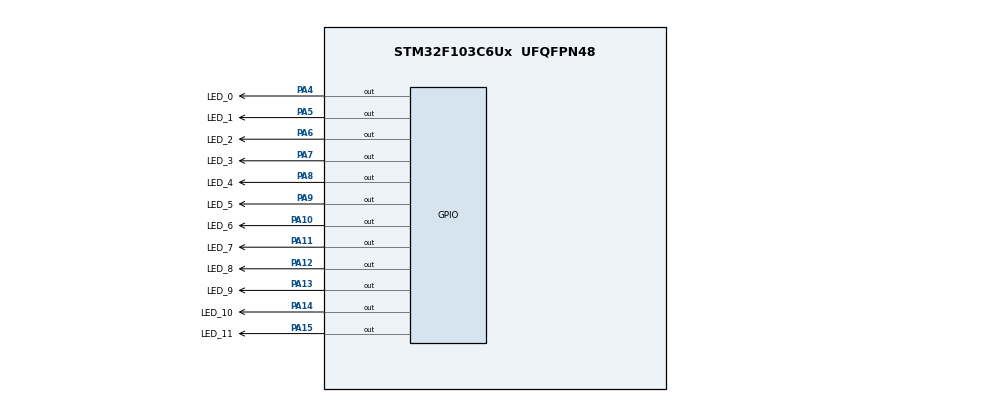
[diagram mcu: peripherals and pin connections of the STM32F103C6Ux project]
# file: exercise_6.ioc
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Mcu.Family=STM32F1
Mcu.Name=STM32F103C6Ux
Mcu.Package=UFQFPN48
NVIC.PriorityGroup=NVIC_PRIORITYGROUP_4
PA10.GPIO_Label=LED_6
PA10.Signal=GPIO_Output
PA11.GPIO_Label=LED_7
PA11.Signal=GPIO_Output
PA12.GPIO_Label=LED_8
PA12.Signal=GPIO_Output
PA13.GPIO_Label=LED_9
PA13.Signal=GPIO_Output
PA14.GPIO_Label=LED_10
PA14.Signal=GPIO_Output
PA15.GPIO_Label=LED_11
PA15.Signal=GPIO_Output
PA4.GPIO_Label=LED_0
PA4.Signal=GPIO_Output
PA5.GPIO_Label=LED_1
PA5.Signal=GPIO_Output
PA6.GPIO_Label=LED_2
PA6.Signal=GPIO_Output
PA7.GPIO_Label=LED_3
PA7.Signal=GPIO_Output
PA8.GPIO_Label=LED_4
PA8.Signal=GPIO_Output
PA9.GPIO_Label=LED_5
PA9.Signal=GPIO_Output
ProjectManager.HeapSize=0x200
ProjectManager.StackSize=0x400
ProjectManager.TargetToolchain=STM32CubeIDE
RCC.APB1Freq_Value=8000000
RCC.APB2Freq_Value=8000000
VP_SYS_VS_ND.Mode=No_Debug
board=custom

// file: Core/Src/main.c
/* USER CODE BEGIN Header */
/**
  ******************************************************************************
  * @file           : main.c
  * @brief          : Main program body
  ******************************************************************************
  * @attention
  *
  * <h2><center>&copy; Copyright (c) 2025 STMicroelectronics.
  * All rights reserved.</center></h2>
  *
  * This software component is licensed by ST under BSD 3-Clause license,
  * the "License"; You may not use this file except in compliance with the
  * License. You may obtain a copy of the License at:
  *                        opensource.org/licenses/BSD-3-Clause
  *
  ******************************************************************************
  */
/* USER CODE END Header */
#include "main.h"

/* USER CODE BEGIN PD */
#define SPEED 100 //Decrease the number for faster clock (1s), set 100 -> 1min = 6s
/* USER CODE END PD */

/* USER CODE BEGIN PV */
int state = 0xFFF;
int counter = 0;
int flag = 1;
/* USER CODE END PV */

void SystemClock_Config(void);
static void MX_GPIO_Init(void);
/* USER CODE BEGIN PFP */
void stateUpdate();

/* USER CODE END PFP */

int main(void)
{

  /* MCU Configuration--------------------------------------------------------*/

  /* Reset of all peripherals, Initializes the Flash interface and the Systick. */
  HAL_Init();

  /* Configure the system clock */
  SystemClock_Config();

  /* Initialize all configured peripherals */
  MX_GPIO_Init();

  /* Infinite loop */
  /* USER CODE BEGIN WHILE */
  while (1)
  {
	  if (counter >= 12){
		  counter = 0;
		  flag ^= 1; //toggle flag
	  }
	  if (flag == 0){
		  state = state | (1 << counter);
	  }else if (flag == 1){
		  state = state & ~(1 << counter);
	  }
	  stateUpdate();
	  counter++;
	  HAL_Delay(SPEED);
    /* USER CODE END WHILE */

  }
}

void SystemClock_Config(void)
{
  RCC_OscInitTypeDef RCC_OscInitStruct = {0};
  RCC_ClkInitTypeDef RCC_ClkInitStruct = {0};

  /** Initializes the RCC Oscillators according to the specified parameters
  * in the RCC_OscInitTypeDef structure.
  */
  RCC_OscInitStruct.OscillatorType = RCC_OSCILLATORTYPE_HSI;
  RCC_OscInitStruct.HSIState = RCC_HSI_ON;
  RCC_OscInitStruct.HSICalibrationValue = RCC_HSICALIBRATION_DEFAULT;
  RCC_OscInitStruct.PLL.PLLState = RCC_PLL_NONE;
  if (HAL_RCC_OscConfig(&RCC_OscInitStruct) != HAL_OK)
  {
    Error_Handler();
  }
  /** Initializes the CPU, AHB and APB buses clocks
  */
  RCC_ClkInitStruct.ClockType = RCC_CLOCKTYPE_HCLK|RCC_CLOCKTYPE_SYSCLK
                              |RCC_CLOCKTYPE_PCLK1|RCC_CLOCKTYPE_PCLK2;
  RCC_ClkInitStruct.SYSCLKSource = RCC_SYSCLKSOURCE_HSI;
  RCC_ClkInitStruct.AHBCLKDivider = RCC_SYSCLK_DIV1;
  RCC_ClkInitStruct.APB1CLKDivider = RCC_HCLK_DIV1;
  RCC_ClkInitStruct.APB2CLKDivider = RCC_HCLK_DIV1;

  if (HAL_RCC_ClockConfig(&RCC_ClkInitStruct, FLASH_LATENCY_0) != HAL_OK)
  {
    Error_Handler();
  }
}

static void MX_GPIO_Init(void)
{
  GPIO_InitTypeDef GPIO_InitStruct = {0};

  /* GPIO Ports Clock Enable */
  __HAL_RCC_GPIOA_CLK_ENABLE();

  /*Configure GPIO pin Output Level */
  HAL_GPIO_WritePin(GPIOA, LED_0_Pin|LED_1_Pin|LED_2_Pin|LED_3_Pin
                          |LED_4_Pin|LED_5_Pin|LED_6_Pin|LED_7_Pin
                          |LED_8_Pin|LED_9_Pin|LED_10_Pin|LED_11_Pin, GPIO_PIN_RESET);

  /*Configure GPIO pins : LED_0_Pin LED_1_Pin LED_2_Pin LED_3_Pin
                           LED_4_Pin LED_5_Pin LED_6_Pin LED_7_Pin
                           LED_8_Pin LED_9_Pin LED_10_Pin LED_11_Pin */
  GPIO_InitStruct.Pin = LED_0_Pin|LED_1_Pin|LED_2_Pin|LED_3_Pin
                          |LED_4_Pin|LED_5_Pin|LED_6_Pin|LED_7_Pin
                          |LED_8_Pin|LED_9_Pin|LED_10_Pin|LED_11_Pin;
  GPIO_InitStruct.Mode = GPIO_MODE_OUTPUT_PP;
  GPIO_InitStruct.Pull = GPIO_NOPULL;
  GPIO_InitStruct.Speed = GPIO_SPEED_FREQ_LOW;
  HAL_GPIO_Init(GPIOA, &GPIO_InitStruct);

}

/* USER CODE BEGIN 4 */
void stateUpdate(){
	HAL_GPIO_WritePin(LED_0_GPIO_Port, LED_0_Pin, !(~state & (1 << 0)));
	HAL_GPIO_WritePin(LED_1_GPIO_Port, LED_1_Pin, !(~state & (1 << 1)));
	HAL_GPIO_WritePin(LED_2_GPIO_Port, LED_2_Pin, !(~state & (1 << 2)));
	HAL_GPIO_WritePin(LED_3_GPIO_Port, LED_3_Pin, !(~state & (1 << 3)));
	HAL_GPIO_WritePin(LED_4_GPIO_Port, LED_4_Pin, !(~state & (1 << 4)));
	HAL_GPIO_WritePin(LED_5_GPIO_Port, LED_5_Pin, !(~state & (1 << 5)));
	HAL_GPIO_WritePin(LED_6_GPIO_Port, LED_6_Pin, !(~state & (1 << 6)));
	HAL_GPIO_WritePin(LED_7_GPIO_Port, LED_7_Pin, !(~state & (1 << 7)));
	HAL_GPIO_WritePin(LED_8_GPIO_Port, LED_8_Pin, !(~state & (1 << 8)));
	HAL_GPIO_WritePin(LED_9_GPIO_Port, LED_9_Pin, !(~state & (1 << 9)));
	HAL_GPIO_WritePin(LED_10_GPIO_Port, LED_10_Pin, !(~state & (1 << 10)));
	HAL_GPIO_WritePin(LED_11_GPIO_Port, LED_11_Pin, !(~state & (1 << 11)));
}

/* USER CODE END 4 */

void Error_Handler(void)
{
  __disable_irq();
  while (1)
  {
  }
}

/************************ (C) COPYRIGHT STMicroelectronics *****END OF FILE****/
